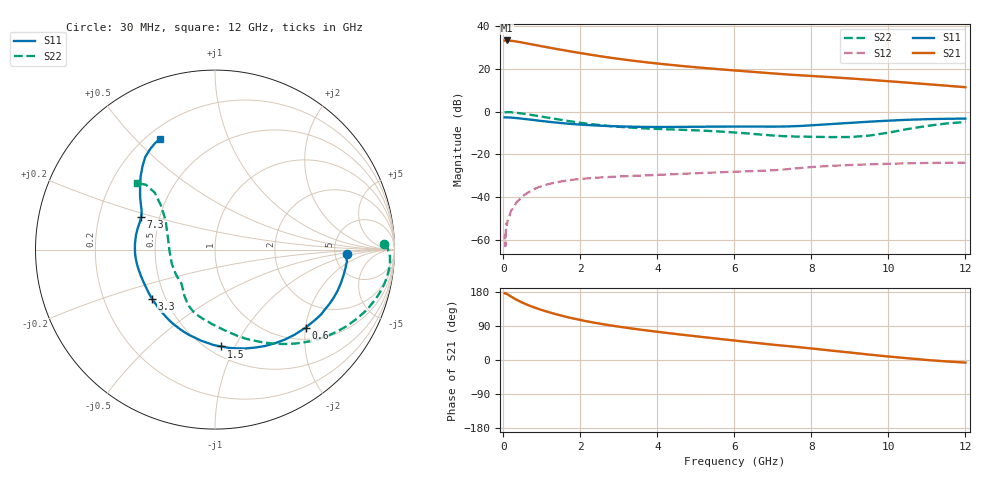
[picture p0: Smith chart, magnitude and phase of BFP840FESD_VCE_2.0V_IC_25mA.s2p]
! Infineon Technologies  Discrete & RF Semiconductors
! BFP840FESD
! VCE =  2.0 V,  IC =  25 mA
! Common Emitter S-Parameters:  May 2012
# GHz  S  MA  R  50
!  f  S11  S21  S12  S22
! GHz  MAG  ANG  MAG  ANG  MAG  ANG  MAG  ANG
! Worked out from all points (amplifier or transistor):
!   103 points, 30 MHz to 12 GHz, reference 50 ohm
!   highest |S21| = 33.4 dB at 80 MHz (marker M1)
!   |S21| within 3 dB of that: start of sweep to 1.076 GHz
!   unconditionally stable (mu >= 1): 5.646 GHz to end of sweep
!   at 400 MHz: K = 0.20, MSG = 37.1 dB, |S12| = -41.5 dB
!   at 3.7 GHz: K = 0.78, MSG = 26.5 dB, |S12| = -29.9 dB
!   at 12 GHz: K = 1.08, MAG = 16.0 dB, |S12| = -24.0 dB
!   S11 on the Smith chart (normalised r, x): 30 MHz: 6.43, -0.75; 600 MHz: 1.28, -2.00; 1.5 GHz: 0.58, -0.88; 3.3 GHz: 0.42, -0.29; 7.3 GHz: 0.39, +0.18; 12 GHz: 0.25, +0.59
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0.03  0.734 -2.1  46.32 176.2  0.001 82.1  0.9443 2.0
0.04  0.7355 -2.9  46.43 175.8  0.0013 78.5  0.9565 1.1
0.05  0.735 -3.5  46.52 176.7  0.0007 124.5  0.9613 0.5
0.08  0.7367 -6.0  46.83 174.8  0.0024 80.0  0.9742 -2.0
0.25  0.7208 -18.4  45.38 164.3  0.0054 79.2  0.9617 -11.7
0.35  0.7061 -25.3  43.93 158.5  0.0077 75.1  0.9394 -16.5
0.45  0.6925 -31.5  42.53 153.4  0.0094 72.7  0.9146 -20.8
0.6  0.6661 -40.8  40.02 146.6  0.012 68.8  0.8728 -26.8
0.8  0.6349 -52.1  36.97 138.7  0.0153 63.3  0.8183 -34.0
1  0.6041 -62.9  34.15 131.8  0.018 59.2  0.764 -40.6
1.3  0.5635 -77.6  30.47 122.6  0.0213 53.8  0.6883 -49.5
1.5  0.5405 -86.5  28.3 117.3  0.0231 50.7  0.6427 -54.9
1.8  0.513 -98.9  25.38 109.9  0.0253 46.4  0.5832 -62.5
2.1  0.4913 -109.8  22.91 103.4  0.0269 43.5  0.5351 -69.3
2.6  0.4656 -124.9  19.46 94.2  0.029 39.9  0.475 -79.0
3.3  0.4449 -141.8  15.96 83.6  0.031 37.9  0.4225 -90.1
4.1  0.4376 -157.1  13.19 73.2  0.0333 37.1  0.3906 -100.2
6.1  0.4464 174.1  9.127 50.2  0.0393 37.2  0.3205 -120.7
7.3  0.4495 156.4  7.539 37.5  0.0441 40.3  0.266 -134.8
8.5  0.5114 144.7  6.45 25.0  0.0536 37.1  0.2533 -161.7
10.5  0.6454 127.1  4.792 4.6  0.0616 29.1  0.391 140.6
12  0.6881 116.2  3.745 -6.8  0.0634 25.9  0.5727 139.6
